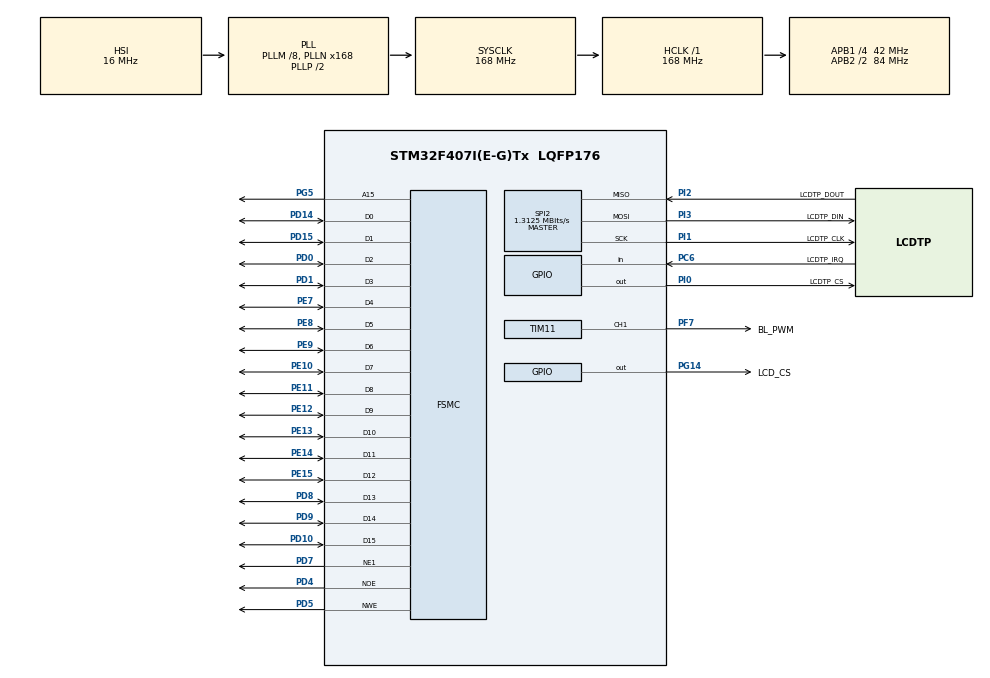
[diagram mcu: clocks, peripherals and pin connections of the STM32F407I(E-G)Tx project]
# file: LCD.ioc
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FSMC.AddressSetupTime1=4
FSMC.BusTurnAroundDuration1=0
FSMC.DataSetupTime1=40
Mcu.Family=STM32F4
Mcu.Name=STM32F407I(E-G)Tx
Mcu.Package=LQFP176
NVIC.PriorityGroup=NVIC_PRIORITYGROUP_4
NVIC.SPI2_IRQn=true\:0\:0\:false\:false\:true
NVIC.TIM1_TRG_COM_TIM11_IRQn=true\:0\:0\:false\:false\:true
PC6.GPIO_Label=LCDTP_IRQ
PC6.Signal=GPIO_Input
PD0.Signal=FSMC_D2_DA2
PD1.Signal=FSMC_D3_DA3
PD10.Signal=FSMC_D15_DA15
PD14.Signal=FSMC_D0_DA0
PD15.Signal=FSMC_D1_DA1
PD4.Signal=FSMC_NOE
PD5.Signal=FSMC_NWE
PD7.Mode=NorPsramChipSelect1_1
PD7.Signal=FSMC_NE1
PD8.Signal=FSMC_D13_DA13
PD9.Signal=FSMC_D14_DA14
PE10.Signal=FSMC_D7_DA7
PE11.Signal=FSMC_D8_DA8
PE12.Signal=FSMC_D9_DA9
PE13.Signal=FSMC_D10_DA10
PE14.Signal=FSMC_D11_DA11
PE15.Signal=FSMC_D12_DA12
PE7.Signal=FSMC_D4_DA4
PE8.Signal=FSMC_D5_DA5
PE9.Signal=FSMC_D6_DA6
PF7.GPIO_Label=BL_PWM
PF7.Signal=S_TIM11_CH1
PG14.GPIO_Label=LCD_CS
PG14.Signal=GPIO_Output
PG5.Signal=FSMC_A15
PH0-OSC_IN.Mode=HSE-External-Oscillator
PH0-OSC_IN.Signal=RCC_OSC_IN
PH1-OSC_OUT.Mode=HSE-External-Oscillator
PH1-OSC_OUT.Signal=RCC_OSC_OUT
PI0.GPIO_Label=LCDTP_CS
PI0.GPIO_PuPd=GPIO_PULLDOWN
PI0.Signal=GPIO_Output
PI1.GPIO_Label=LCDTP_CLK
PI1.Mode=Full_Duplex_Master
PI1.Signal=SPI2_SCK
PI2.GPIO_Label=LCDTP_DOUT
PI2.Mode=Full_Duplex_Master
PI2.Signal=SPI2_MISO
PI3.GPIO_Label=LCDTP_DIN
PI3.Mode=Full_Duplex_Master
PI3.Signal=SPI2_MOSI
ProjectManager.HeapSize=0x200
ProjectManager.StackSize=0x400
ProjectManager.TargetToolchain=MDK-ARM V5
RCC.48MHZClocksFreq_Value=84000000
RCC.AHBFreq_Value=168000000
RCC.APB1CLKDivider=RCC_HCLK_DIV4
RCC.APB1Freq_Value=42000000
RCC.APB1TimFreq_Value=84000000
RCC.APB2CLKDivider=RCC_HCLK_DIV2
RCC.APB2Freq_Value=84000000
RCC.APB2TimFreq_Value=168000000
RCC.CortexFreq_Value=168000000
RCC.HCLKFreq_Value=168000000
RCC.HSE_VALUE=8000000
RCC.HSI_VALUE=16000000
RCC.LSE_VALUE=32768
RCC.PLLM=8
RCC.PLLN=168
RCC.SYSCLKFreq_VALUE=168000000
RCC.SYSCLKSource=RCC_SYSCLKSOURCE_PLLCLK
RCC.VCOOutputFreq_Value=336000000
SH.FSMC_A15.0=FSMC_A15,A15_1
SH.FSMC_D0_DA0.0=FSMC_D0,16b-d1
SH.FSMC_D10_DA10.0=FSMC_D10,16b-d1
SH.FSMC_D11_DA11.0=FSMC_D11,16b-d1
SH.FSMC_D12_DA12.0=FSMC_D12,16b-d1
SH.FSMC_D13_DA13.0=FSMC_D13,16b-d1
SH.FSMC_D14_DA14.0=FSMC_D14,16b-d1
SH.FSMC_D15_DA15.0=FSMC_D15,16b-d1
SH.FSMC_D1_DA1.0=FSMC_D1,16b-d1
SH.FSMC_D2_DA2.0=FSMC_D2,16b-d1
SH.FSMC_D3_DA3.0=FSMC_D3,16b-d1
SH.FSMC_D4_DA4.0=FSMC_D4,16b-d1
SH.FSMC_D5_DA5.0=FSMC_D5,16b-d1
SH.FSMC_D6_DA6.0=FSMC_D6,16b-d1
SH.FSMC_D7_DA7.0=FSMC_D7,16b-d1
SH.FSMC_D8_DA8.0=FSMC_D8,16b-d1
SH.FSMC_D9_DA9.0=FSMC_D9,16b-d1
SH.FSMC_NOE.0=FSMC_NOE,Lcd1
SH.FSMC_NWE.0=FSMC_NWE,Lcd1
SH.S_TIM11_CH1.0=TIM11_CH1,PWM Generation1 CH1
SPI2.BaudRatePrescaler=SPI_BAUDRATEPRESCALER_32
SPI2.CalculateBaudRate=1.3125 MBits/s
SPI2.Mode=SPI_MODE_MASTER
TIM11.ClockDivision=TIM_CLOCKDIVISION_DIV4
TIM11.Period=(2000-1)
TIM11.Prescaler=(420-1)
VP_TIM11_VS_ClockSourceINT.Mode=Enable_Timer
board=LCD

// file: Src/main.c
/**
  ******************************************************************************
  * File Name          : main.c
  * Description        : Main program body
  ******************************************************************************
  *
  * COPYRIGHT(c) 2017 STMicroelectronics
  *
  * Redistribution and use in source and binary forms, with or without modification,
  * are permitted provided that the following conditions are met:
  *   1. Redistributions of source code must retain the above copyright notice,
  *      this list of conditions and the following disclaimer.
  *   2. Redistributions in binary form must reproduce the above copyright notice,
  *      this list of conditions and the following disclaimer in the documentation
  *      and/or other materials provided with the distribution.
  *   3. Neither the name of STMicroelectronics nor the names of its contributors
  *      may be used to endorse or promote products derived from this software
  *      without specific prior written permission.
  *
  * THIS SOFTWARE IS PROVIDED BY THE COPYRIGHT HOLDERS AND CONTRIBUTORS "AS IS"
  * AND ANY EXPRESS OR IMPLIED WARRANTIES, INCLUDING, BUT NOT LIMITED TO, THE
  * IMPLIED WARRANTIES OF MERCHANTABILITY AND FITNESS FOR A PARTICULAR PURPOSE ARE
  * DISCLAIMED. IN NO EVENT SHALL THE COPYRIGHT HOLDER OR CONTRIBUTORS BE LIABLE
  * FOR ANY DIRECT, INDIRECT, INCIDENTAL, SPECIAL, EXEMPLARY, OR CONSEQUENTIAL
  * DAMAGES (INCLUDING, BUT NOT LIMITED TO, PROCUREMENT OF SUBSTITUTE GOODS OR
  * SERVICES; LOSS OF USE, DATA, OR PROFITS; OR BUSINESS INTERRUPTION) HOWEVER
  * CAUSED AND ON ANY THEORY OF LIABILITY, WHETHER IN CONTRACT, STRICT LIABILITY,
  * OR TORT (INCLUDING NEGLIGENCE OR OTHERWISE) ARISING IN ANY WAY OUT OF THE USE
  * OF THIS SOFTWARE, EVEN IF ADVISED OF THE POSSIBILITY OF SUCH DAMAGE.
  *
  ******************************************************************************
  */
#include "main.h"
#include "stm32f4xx_hal.h"
#include "spi.h"
#include "tim.h"
#include "gpio.h"
#include "fsmc.h"

/* USER CODE BEGIN Includes */
#include "stm32_lcd_bsp.h"
#include "touch_panel.h"
/* USER CODE END Includes */

/* USER CODE BEGIN PV */
/* Private variables ---------------------------------------------------------*/

/* USER CODE END PV */

void SystemClock_Config(void);
void Error_Handler(void);

/* USER CODE BEGIN PFP */
/* Private function prototypes -----------------------------------------------*/
/**
  * This specifies the brightness of the backlight.
  *
  * By default the 0R resistor is not put on the solder bridge for PWM control.
  * that is, the backlight isn't adjustable because the PWM pin of the LCD is
  * not connected to any pins. In order to adjust the backlight by PWM, the PWM
  * pin should be connected to PF7 i.e. you should put a 0R resistor on the
  * PWM route, which connects the PWM pin of LCD to the PF7.
  *
  * value can be a number from 0 to 2000 (htim.Init.Period + 1).
  */
void setBacklight(uint16_t value)
{
  TIM_OC_InitTypeDef sConfigOC;
  sConfigOC.OCMode = TIM_OCMODE_PWM1;
  sConfigOC.Pulse = value;
  sConfigOC.OCPolarity = TIM_OCPOLARITY_HIGH;
  sConfigOC.OCFastMode = TIM_OCFAST_DISABLE;
  HAL_TIM_PWM_ConfigChannel(&htim11, &sConfigOC, TIM_CHANNEL_1);
  HAL_TIM_PWM_Start(&htim11, TIM_CHANNEL_1);
}

/* USER CODE END PFP */

int main(void)
{

  /* USER CODE BEGIN 1 */
  uint16_t linenum = 0;
  /* USER CODE END 1 */

  /* MCU Configuration----------------------------------------------------------*/

  /* Reset of all peripherals, Initializes the Flash interface and the Systick. */
  HAL_Init();

  /* Configure the system clock */
  SystemClock_Config();

  /* Initialize all configured peripherals */
  MX_GPIO_Init();
  MX_FSMC_Init();
  MX_TIM11_Init();
  MX_SPI2_Init();

  /* USER CODE BEGIN 2 */
    /* LCD_CS pin (PG14) is used for chip select (active low) but it doesn't controlled by FSMC.
     You can only choose NE1(PD7), NE2(PG9), NE3(PG10) or NE4(PG12) for FSMC chip select in STM32CubeMX.
     But STM32CubeMX doesn't allow PG14 as an alternative Chip Select pin. */
  HAL_GPIO_WritePin(LCD_CS_GPIO_Port, LCD_CS_Pin, GPIO_PIN_RESET);

  /* setBacklight(2000);                 only available if a 0R resistor is put on the PWM route,
                                         which connects the PWM pin of LCD to the PF7.   */

/* Initialize the LCD */
  BSP_LCD_Init();
  /* Enable the LCD */
  BSP_LCD_DisplayOn();
  /* Touch Panel configuration */
  TouchPanel_Calibrate();
  BSP_LCD_Clear(LCD_COLOR_WHITE);
  BSP_LCD_SetFont(&Font12);
  BSP_LCD_SetTextColor(LCD_COLOR_BLACK);
  BSP_LCD_DisplayStringAt(5,5, (uint8_t*)"Touch Panel Paint   ",LEFT_MODE);
  BSP_LCD_DisplayStringAt(5,20, (uint8_t*)"Example             ",LEFT_MODE);

  BSP_LCD_SetTextColor(LCD_COLOR_RED);
  BSP_LCD_FillRect(5, 200, 30, 30);
  BSP_LCD_SetTextColor(LCD_COLOR_BLUE);
  BSP_LCD_FillRect(40, 200, 30, 30);
  BSP_LCD_SetTextColor(LCD_COLOR_GREEN);
  BSP_LCD_FillRect(75, 200, 30, 30);
  BSP_LCD_SetTextColor(LCD_COLOR_BLACK);
  BSP_LCD_FillRect(110, 200, 30, 30);
  BSP_LCD_SetTextColor(LCD_COLOR_MAGENTA);
  BSP_LCD_FillRect(145, 200, 30, 30);
  BSP_LCD_SetTextColor(LCD_COLOR_ORANGE);
  BSP_LCD_FillRect(180, 200, 30, 30);
  BSP_LCD_SetTextColor(LCD_COLOR_CYAN);
  BSP_LCD_FillRect(215, 200, 30, 30);
  BSP_LCD_SetTextColor(LCD_COLOR_YELLOW);
  BSP_LCD_FillRect(250, 200, 30, 30);

  BSP_LCD_SetTextColor(LCD_COLOR_BLACK);

  BSP_LCD_SetFont(&Font24);
  BSP_LCD_DisplayChar(290, 205, 'C');
  BSP_LCD_DrawHLine(  0, 196, 320);

  BSP_LCD_DrawVLine(  1, 198,  35);
  BSP_LCD_DrawVLine( 37, 198,  35);
  BSP_LCD_DrawVLine( 72, 198,  35);
  BSP_LCD_DrawVLine(107, 198,  35);
  BSP_LCD_DrawVLine(142, 198,  35);

  BSP_LCD_DrawVLine(177, 198,  35);
  BSP_LCD_DrawVLine(212, 198,  35);
  BSP_LCD_DrawVLine(247, 198,  35);
  BSP_LCD_DrawVLine(282, 198,  35);
  BSP_LCD_DrawVLine(317, 198,  35);

  BSP_LCD_DrawHLine(  1, 232, 320);
  /* USER CODE END 2 */

  /* Infinite loop */
  while (1)
  {

  /* USER CODE BEGIN 3 */
    getDisplayPoint(&display, Read_Ads7846(), &matrix );
    if(((display.y < 190) && (display.y >= 2)))
    {
      if((display.x >= 318) || (display.x < 2))
      {}
      else
      {
        BSP_LCD_FillCircle(display.x, display.y, 2);
      }
    }
    else if ((display.y <= 230) && (display.y >= 190) && (display.x >= 180) && (display.x <= 210))
    {
      BSP_LCD_SetTextColor(LCD_COLOR_ORANGE);
    }
    else if ((display.y <= 230) && (display.y >= 190) && (display.x >= 215) && (display.x <= 245))
    {
      BSP_LCD_SetTextColor(LCD_COLOR_CYAN);
    }
    else if ((display.y <= 230) && (display.y >= 190) && (display.x >= 250) && (display.x <= 280))
    {
      BSP_LCD_SetTextColor(LCD_COLOR_YELLOW);
    }
    else if ((display.y <= 230) && (display.y >= 190) && (display.x >= 5) && (display.x <= 35))
    {
      BSP_LCD_SetTextColor(LCD_COLOR_RED);
    }
    else if ((display.y <= 230) && (display.y >= 190) && (display.x >= 40) && (display.x <= 70))
    {
      BSP_LCD_SetTextColor(LCD_COLOR_BLUE);
    }
    else if ((display.y <= 230) && (display.y >= 190) && (display.x >= 75) && (display.x <= 105))
    {
      BSP_LCD_SetTextColor(LCD_COLOR_GREEN);
    }
    else if ((display.y <= 230) && (display.y >= 190) && (display.x >= 110) && (display.x <= 140))
    {
      BSP_LCD_SetTextColor(LCD_COLOR_BLACK);
    }
    else if ((display.y <= 230) && (display.y >= 190) && (display.x >= 145) && (display.x <= 175))
    {
      BSP_LCD_SetTextColor(LCD_COLOR_MAGENTA);
    }
    else if ((display.y <= 230) && (display.y >= 190) && (display.x >= 285) && (display.x <= 315))
    {
      BSP_LCD_SetFont(&Font8);
      for(linenum = 0; linenum < 24; linenum++)
      {
        BSP_LCD_ClearStringLine(linenum);
      }
    }
    else
    {
    }
  }
  /* USER CODE END 3 */

}

/** System Clock Configuration
*/
void SystemClock_Config(void)
{

  RCC_OscInitTypeDef RCC_OscInitStruct;
  RCC_ClkInitTypeDef RCC_ClkInitStruct;

    /**Configure the main internal regulator output voltage
    */
  __HAL_RCC_PWR_CLK_ENABLE();

  __HAL_PWR_VOLTAGESCALING_CONFIG(PWR_REGULATOR_VOLTAGE_SCALE1);

    /**Initializes the CPU, AHB and APB busses clocks
    */
  RCC_OscInitStruct.OscillatorType = RCC_OSCILLATORTYPE_HSI;
  RCC_OscInitStruct.HSIState = RCC_HSI_ON;
  RCC_OscInitStruct.HSICalibrationValue = 16;
  RCC_OscInitStruct.PLL.PLLState = RCC_PLL_ON;
  RCC_OscInitStruct.PLL.PLLSource = RCC_PLLSOURCE_HSI;
  RCC_OscInitStruct.PLL.PLLM = 8;
  RCC_OscInitStruct.PLL.PLLN = 168;
  RCC_OscInitStruct.PLL.PLLP = RCC_PLLP_DIV2;
  RCC_OscInitStruct.PLL.PLLQ = 4;
  if (HAL_RCC_OscConfig(&RCC_OscInitStruct) != HAL_OK)
  {
    Error_Handler();
  }

    /**Initializes the CPU, AHB and APB busses clocks
    */
  RCC_ClkInitStruct.ClockType = RCC_CLOCKTYPE_HCLK|RCC_CLOCKTYPE_SYSCLK
                              |RCC_CLOCKTYPE_PCLK1|RCC_CLOCKTYPE_PCLK2;
  RCC_ClkInitStruct.SYSCLKSource = RCC_SYSCLKSOURCE_PLLCLK;
  RCC_ClkInitStruct.AHBCLKDivider = RCC_SYSCLK_DIV1;
  RCC_ClkInitStruct.APB1CLKDivider = RCC_HCLK_DIV4;
  RCC_ClkInitStruct.APB2CLKDivider = RCC_HCLK_DIV2;

  if (HAL_RCC_ClockConfig(&RCC_ClkInitStruct, FLASH_LATENCY_5) != HAL_OK)
  {
    Error_Handler();
  }

    /**Configure the Systick interrupt time
    */
  HAL_SYSTICK_Config(HAL_RCC_GetHCLKFreq()/1000);

    /**Configure the Systick
    */
  HAL_SYSTICK_CLKSourceConfig(SYSTICK_CLKSOURCE_HCLK);

  /* SysTick_IRQn interrupt configuration */
  HAL_NVIC_SetPriority(SysTick_IRQn, 0, 0);
}

void Error_Handler(void)
{
  while(1)
  {
  }
}

/************************ (C) COPYRIGHT STMicroelectronics *****END OF FILE****/
